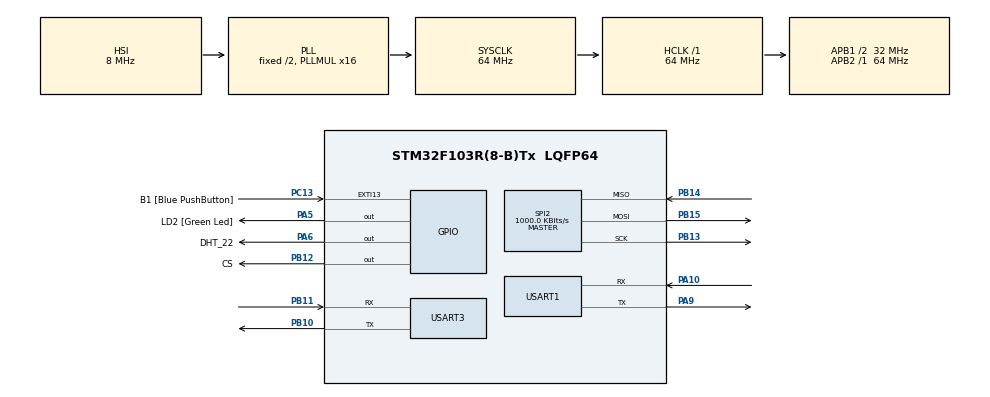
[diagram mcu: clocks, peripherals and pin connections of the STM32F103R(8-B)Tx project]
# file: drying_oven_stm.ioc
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Dma.Request0=USART1_RX
Dma.Request1=USART3_RX
Dma.USART1_RX.0.Direction=DMA_PERIPH_TO_MEMORY
Dma.USART1_RX.0.Instance=DMA1_Channel5
Dma.USART1_RX.0.MemDataAlignment=DMA_MDATAALIGN_BYTE
Dma.USART1_RX.0.MemInc=DMA_MINC_ENABLE
Dma.USART1_RX.0.Mode=DMA_NORMAL
Dma.USART1_RX.0.PeriphDataAlignment=DMA_PDATAALIGN_BYTE
Dma.USART1_RX.0.PeriphInc=DMA_PINC_DISABLE
Dma.USART1_RX.0.Priority=DMA_PRIORITY_LOW
Dma.USART3_RX.1.Direction=DMA_PERIPH_TO_MEMORY
Dma.USART3_RX.1.Instance=DMA1_Channel3
Dma.USART3_RX.1.MemDataAlignment=DMA_MDATAALIGN_BYTE
Dma.USART3_RX.1.MemInc=DMA_MINC_ENABLE
Dma.USART3_RX.1.Mode=DMA_NORMAL
Dma.USART3_RX.1.PeriphDataAlignment=DMA_PDATAALIGN_BYTE
Dma.USART3_RX.1.PeriphInc=DMA_PINC_DISABLE
Dma.USART3_RX.1.Priority=DMA_PRIORITY_LOW
FREERTOS.INCLUDE_vTaskDelayUntil=1
FREERTOS.MEMORY_ALLOCATION=1
FREERTOS.Mutexes01=dataMutex,Static,dataMutexControlBlock
FREERTOS.Tasks01=defaultTask,-3,128,StartDefaultTask,Default,NULL,Static,defaultTaskBuffer,defaultTaskControlBlock;sensorTask,0,128,StartSensorTask,Default,NULL,Static,sensorTaskBuffer,sensorTaskControlBlock;httpTask,1,128,StartHttpTask,Default,NULL,Static,httpTaskBuffer,httpTaskControlBlock;cliTask,2,128,StartCliTask,Default,NULL,Static,cliTaskBuffer,cliTaskControlBlock
FREERTOS.configTICK_RATE_HZ=10
FREERTOS.configUSE_NEWLIB_REENTRANT=1
Mcu.Family=STM32F1
Mcu.Name=STM32F103R(8-B)Tx
Mcu.Package=LQFP64
NVIC.DMA1_Channel3_IRQn=true\:5\:0\:false\:false\:true\:true\:false\:true\:true
NVIC.DMA1_Channel5_IRQn=true\:5\:0\:false\:false\:true\:true\:false\:true\:true
NVIC.EXTI15_10_IRQn=true\:5\:0\:false\:false\:true\:true\:true\:true\:true
NVIC.PriorityGroup=NVIC_PRIORITYGROUP_4
NVIC.USART1_IRQn=true\:5\:0\:false\:false\:true\:true\:true\:true\:true
NVIC.USART3_IRQn=true\:5\:0\:false\:false\:true\:true\:true\:true\:true
PA10.Mode=Asynchronous
PA10.Signal=USART1_RX
PA13.GPIO_Label=TMS
PA13.Mode=Serial_Wire
PA13.Signal=SYS_JTMS-SWDIO
PA14.GPIO_Label=TCK
PA14.Mode=Serial_Wire
PA14.Signal=SYS_JTCK-SWCLK
PA2.GPIO_Label=USART_TX
PA2.GPIO_Mode=GPIO_MODE_AF_PP
PA2.GPIO_PuPd=GPIO_NOPULL
PA2.GPIO_Speed=GPIO_SPEED_FREQ_LOW
PA2.Signal=USART2_TX
PA3.GPIO_Label=USART_RX
PA3.GPIO_Mode=GPIO_MODE_AF_PP
PA3.GPIO_PuPd=GPIO_NOPULL
PA3.GPIO_Speed=GPIO_SPEED_FREQ_LOW
PA3.Signal=USART2_RX
PA5.GPIO_Label=LD2 [Green Led]
PA5.GPIO_ModeDefaultOutputPP=GPIO_MODE_OUTPUT_PP
PA5.GPIO_PuPd=GPIO_NOPULL
PA5.GPIO_Speed=GPIO_SPEED_FREQ_LOW
PA5.Signal=GPIO_Output
PA6.GPIO_Label=DHT_22
PA6.Signal=GPIO_Output
PA9.Mode=Asynchronous
PA9.Signal=USART1_TX
PB10.Mode=Asynchronous
PB10.Signal=USART3_TX
PB11.Mode=Asynchronous
PB11.Signal=USART3_RX
PB12.GPIO_Label=CS
PB12.GPIO_ModeDefaultOutputPP=GPIO_MODE_OUTPUT_PP
PB12.GPIO_PuPd=GPIO_NOPULL
PB12.PinState=GPIO_PIN_RESET
PB12.Signal=GPIO_Output
PB13.Mode=Full_Duplex_Master
PB13.Signal=SPI2_SCK
PB14.Mode=Full_Duplex_Master
PB14.Signal=SPI2_MISO
PB15.Mode=Full_Duplex_Master
PB15.Signal=SPI2_MOSI
PB3.GPIO_Label=SWO
PB3.Signal=SYS_JTDO-TRACESWO
PC13-TAMPER-RTC.GPIO_Label=B1 [Blue PushButton]
PC13-TAMPER-RTC.GPIO_PuPd=GPIO_NOPULL
PC13-TAMPER-RTC.Signal=GPXTI13
PC14-OSC32_IN.Mode=LSE-External-Oscillator
PC14-OSC32_IN.Signal=RCC_OSC32_IN
PC15-OSC32_OUT.Mode=LSE-External-Oscillator
PC15-OSC32_OUT.Signal=RCC_OSC32_OUT
PD0-OSC_IN.Mode=HSE-External-Clock-Source
PD0-OSC_IN.Signal=RCC_OSC_IN
PD1-OSC_OUT.Mode=HSE-External-Clock-Source
PD1-OSC_OUT.Signal=RCC_OSC_OUT
ProjectManager.HeapSize=0x200
ProjectManager.StackSize=0x400
ProjectManager.TargetToolchain=STM32CubeIDE
RCC.AHBFreq_Value=64000000
RCC.APB1CLKDivider=RCC_HCLK_DIV2
RCC.APB1Freq_Value=32000000
RCC.APB1TimFreq_Value=64000000
RCC.APB2Freq_Value=64000000
RCC.APB2TimFreq_Value=64000000
RCC.HCLKFreq_Value=64000000
RCC.PLLMUL=RCC_PLL_MUL16
RCC.RTCClockSelection=RCC_RTCCLKSOURCE_LSE
RCC.SYSCLKFreq_VALUE=64000000
RCC.SYSCLKSource=RCC_SYSCLKSOURCE_PLLCLK
RCC.USBFreq_Value=64000000
SPI2.BaudRatePrescaler=SPI_BAUDRATEPRESCALER_32
SPI2.CLKPhase=SPI_PHASE_2EDGE
SPI2.CLKPolarity=SPI_POLARITY_HIGH
SPI2.CalculateBaudRate=1000.0 KBits/s
SPI2.Direction=SPI_DIRECTION_2LINES
SPI2.Mode=SPI_MODE_MASTER
SPI2.VirtualType=VM_MASTER
TIM3.Prescaler=64000-1
TIM4.Prescaler=64-1
USART1.VirtualMode=VM_ASYNC
USART3.VirtualMode=VM_ASYNC
VP_FREERTOS_VS_CMSIS_V1.Mode=CMSIS_V1
VP_TIM3_VS_ClockSourceINT.Mode=Internal
VP_TIM4_VS_ClockSourceINT.Mode=Internal
board=NUCLEO-F103RB

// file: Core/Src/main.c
/* USER CODE BEGIN Header */
/**
 ******************************************************************************
 * @file           : main.c
 * @brief          : Main program body
 ******************************************************************************
 * @attention
 *
 * Copyright (c) 2024 STMicroelectronics.
 * All rights reserved.
 *
 * This software is licensed under terms that can be found in the LICENSE file
 * in the root directory of this software component.
 * If no LICENSE file comes with this software, it is provided AS-IS.
 *
 ******************************************************************************
 */
/* USER CODE END Header */
#include "main.h"

#include "cmsis_os.h"

/* USER CODE BEGIN Includes */
#include "cli.h"
#include "dht22.h"
#include "esp8266.h"
#include "sensor_callbacks.h"

#include <stdio.h>
#include <string.h>
/* USER CODE END Includes */

SPI_HandleTypeDef hspi2;

TIM_HandleTypeDef htim3;
TIM_HandleTypeDef htim4;

UART_HandleTypeDef huart1;
UART_HandleTypeDef huart3;
DMA_HandleTypeDef hdma_usart1_rx;
DMA_HandleTypeDef hdma_usart3_rx;

osThreadId defaultTaskHandle;
uint32_t defaultTaskBuffer[128];
osStaticThreadDef_t defaultTaskControlBlock;
osThreadId sensorTaskHandle;
uint32_t sensorTaskBuffer[128];
osStaticThreadDef_t sensorTaskControlBlock;
osThreadId httpTaskHandle;
uint32_t httpTaskBuffer[128];
osStaticThreadDef_t httpTaskControlBlock;
osThreadId cliTaskHandle;
uint32_t cliTaskBuffer[128];
osStaticThreadDef_t cliTaskControlBlock;
osMutexId dataMutexHandle;
osStaticMutexDef_t dataMutexControlBlock;
/* USER CODE BEGIN PV */
dht22_t dht22;
esp8266_t esp8266;
max31865_t pt100_TempSensor;
static const char fw_version[] = "0.0.1";

const char *hello_http      = "<h1>Hello World!</h1>";
volatile uint8_t cpt_addr   = 0;
volatile uint16_t prev_size = 0;

static uint8_t rx_buffer[INPUT_BUF_SIZE];
static char cli_buffer[INPUT_BUF_SIZE]; /** Input buffer for the command line interpreter. */
static uint8_t esp_buffer[MAX_BUFFER_LEN];
static char esp_freeze_buffer[MAX_BUFFER_LEN];

volatile uint8_t cli_flag = 0;

typedef struct __attribute__((__packed__))
{
    uint16_t oven_temperature;
    uint16_t int_temp_celsius;
    uint16_t int_humidity;
} sensor_values_t;

/* USER CODE END PV */

void SystemClock_Config(void);
static void MX_GPIO_Init(void);
static void MX_DMA_Init(void);
static void MX_SPI2_Init(void);
static void MX_USART1_UART_Init(void);
static void MX_TIM4_Init(void);
static void MX_TIM3_Init(void);
static void MX_USART3_UART_Init(void);
void StartDefaultTask(const void *argument);
void StartSensorTask(const void *argument);
void StartHttpTask(const void *argument);
void StartCliTask(const void *argument);

/* USER CODE BEGIN PFP */
static void ask_user_credentials(esp8266_t *esp8266);

/* USER CODE END PFP */

/* USER CODE BEGIN 0 */
/**
 * @brief This function is called to increment  a global variable "uwTick"
 *        used as application time base.
 * @note We need to increment tick by different value depending on
 *        the configTICK_RATE_HZ constant
 * @note This function will overload the weak version
 * @retval None
 */
void HAL_IncTick(void)
{
    switch (configTICK_RATE_HZ)
    {
        case 1000:
            uwTick += HAL_TICK_FREQ_1KHZ;
            break;
        case 100:
            uwTick += HAL_TICK_FREQ_100HZ;
            break;
        case 10:
            uwTick += HAL_TICK_FREQ_10HZ;
            break;
        default:
            uwTick += HAL_TICK_FREQ_DEFAULT;
    }
}

/**
 * @brief      UART Rx callback function
 * @param[in]  huart UART handle
 * @param[in]  Size Number of bytes received
 * @retval     None
 */
void HAL_UARTEx_RxEventCallback(UART_HandleTypeDef *huart, uint16_t Size)
{
    BaseType_t is_higher_priority_task_woken = pdFALSE;

    if (USART3 == huart->Instance)
    {
        /** Copy RxBuffer to cli_input buffer for processing*/
        memcpy(cli_buffer, rx_buffer, Size);

        /** Set New message available for processing */
        // TODO This is a temporary solution to avoid Notify a task while scheduler has not yet started
        // Best solution could be to use a InitTask to ask_user_credentials and kill it after
        // so that we won't need anymore cli_flag
        if (xTaskGetSchedulerState() != taskSCHEDULER_RUNNING)
        {
            cli_flag = 1;
            return;
        }
        vTaskNotifyGiveFromISR(cliTaskHandle, &is_higher_priority_task_woken);
    }
    else if (USART1 == huart->Instance)
    {
        // Do something with the ESP8266 received data
        memcpy(esp_freeze_buffer, esp_buffer, Size);

        /** Set New message available for processing*/
        if (MAX_BUFFER_LEN == Size)
        {
            vTaskNotifyGiveFromISR(httpTaskHandle, &is_higher_priority_task_woken);
        }
        else
        {
            /* start the DMA while entire message has not been received */
            HAL_UARTEx_ReceiveToIdle_DMA(&huart1, (uint8_t *) esp_buffer, MAX_BUFFER_LEN);
            __HAL_DMA_DISABLE_IT(&hdma_usart1_rx, DMA_IT_HT);
        }
    }
    else
    {
        return;
    }
    portYIELD_FROM_ISR(is_higher_priority_task_woken);
}

static void ask_user_credentials(esp8266_t *esp8266)
{
    char ssid[MAX_CHAR_SSID];
    char password[MAX_CHAR_PWD];

    PRINTF("Enter SSID for wifi connection:\n");

    while (!cli_flag)
    {
    }
    memcpy(ssid, cli_buffer, strlen(cli_buffer) + 1);

    /* start the DMA again */
    HAL_UARTEx_ReceiveToIdle_DMA(&huart3, (uint8_t *) rx_buffer, INPUT_BUF_SIZE);
    __HAL_DMA_DISABLE_IT(&hdma_usart3_rx, DMA_IT_HT);

    cli_flag = 0;

    PRINTF("Enter password for wifi connection:\n");

    while (!cli_flag)
    {
    }
    memcpy(password, cli_buffer, strlen(cli_buffer) + 1);

    /* start the DMA again */
    HAL_UARTEx_ReceiveToIdle_DMA(&huart3, (uint8_t *) rx_buffer, INPUT_BUF_SIZE);
    __HAL_DMA_DISABLE_IT(&hdma_usart3_rx, DMA_IT_HT);

    cli_flag = 0;

    esp_8266_set_credentials(esp8266, ssid, password);
}

/* USER CODE END 0 */

int main(void)
{
    /* USER CODE BEGIN 1 */
    esp8266_status_t esp_sts = ESP8266_OK;

    dht22_init(&dht22, gpio_input_dir, gpio_write, delay_us, gpio_read, gpio_output_dir);

    esp8266_init(&esp8266, delay_ms, send_message);

    max31865_init(&pt100_TempSensor,
                  chipselect_cb,
                  spi_trx_cb,
                  charge_time_delay_cb,
                  conversion_time_delay_cb,
                  threshold_fault,
                  threshold_fault,
                  100,    // RTD resistance
                  432,    // Rref resistance
                  0,      // lower fault threshold
                  0x7fff, // higher fault threshold
                  false,  // 2 wire
                  false); // 50Hz filter

    /* USER CODE END 1 */

    /* MCU Configuration--------------------------------------------------------*/

    /* Reset of all peripherals, Initializes the Flash interface and the Systick. */
    HAL_Init();

    /* Configure the system clock */
    SystemClock_Config();

    /* Initialize all configured peripherals */
    MX_GPIO_Init();
    MX_DMA_Init();
    MX_SPI2_Init();
    MX_USART1_UART_Init();
    MX_TIM4_Init();
    MX_TIM3_Init();
    MX_USART3_UART_Init();
    /* USER CODE BEGIN 2 */
    HAL_UARTEx_ReceiveToIdle_DMA(&huart3, rx_buffer, INPUT_BUF_SIZE);
    __HAL_DMA_DISABLE_IT(&hdma_usart3_rx, DMA_IT_HT);

    PRINTF("Coucou Hibou\nSoftware Version %s\n", fw_version);

    ask_user_credentials(&esp8266);
    esp_sts = esp8266_connect(&esp8266);
    PRINTF("%s\n", (esp_sts == ESP8266_OK) ? "Connected to wifi" : "Failed to connect to wifi");

    print_cli_menu();
    HAL_UARTEx_ReceiveToIdle_DMA(&huart1, esp_buffer, MAX_BUFFER_LEN);
    __HAL_DMA_DISABLE_IT(&hdma_usart1_rx, DMA_IT_HT);

    // Enabling the CM3 Cycle Counter
    DWT->CTRL |= (1U << 0);
    SEGGER_SYSVIEW_Conf();
    // SEGGER_SYSVIEW_Start();
    /* USER CODE END 2 */

    /* Create the mutex(es) */
    /* definition and creation of dataMutex */
    osMutexStaticDef(dataMutex, &dataMutexControlBlock);
    dataMutexHandle = osMutexCreate(osMutex(dataMutex));

    /* Create the thread(s) */
    /* definition and creation of defaultTask */
    osThreadStaticDef(defaultTask,
                      StartDefaultTask,
                      osPriorityIdle,
                      0,
                      128,
                      defaultTaskBuffer,
                      &defaultTaskControlBlock);
    defaultTaskHandle = osThreadCreate(osThread(defaultTask), NULL);

    /* definition and creation of sensorTask */
    osThreadStaticDef(sensorTask, StartSensorTask, osPriorityNormal, 0, 128, sensorTaskBuffer, &sensorTaskControlBlock);
    sensorTaskHandle = osThreadCreate(osThread(sensorTask), NULL);

    /* definition and creation of httpTask */
    osThreadStaticDef(httpTask, StartHttpTask, osPriorityAboveNormal, 0, 128, httpTaskBuffer, &httpTaskControlBlock);
    httpTaskHandle = osThreadCreate(osThread(httpTask), NULL);

    /* definition and creation of cliTask */
    osThreadStaticDef(cliTask, StartCliTask, osPriorityHigh, 0, 128, cliTaskBuffer, &cliTaskControlBlock);
    cliTaskHandle = osThreadCreate(osThread(cliTask), NULL);

    /* Start scheduler */
    osKernelStart();

    /* We should never get here as control is now taken by the scheduler */
    /* Infinite loop */
    while (1)
    {

    }
}

void SystemClock_Config(void)
{
    RCC_OscInitTypeDef RCC_OscInitStruct = {0};
    RCC_ClkInitTypeDef RCC_ClkInitStruct = {0};

    /** Initializes the RCC Oscillators according to the specified parameters
     * in the RCC_OscInitTypeDef structure.
     */
    RCC_OscInitStruct.OscillatorType      = RCC_OSCILLATORTYPE_HSI;
    RCC_OscInitStruct.HSIState            = RCC_HSI_ON;
    RCC_OscInitStruct.HSICalibrationValue = RCC_HSICALIBRATION_DEFAULT;
    RCC_OscInitStruct.PLL.PLLState        = RCC_PLL_ON;
    RCC_OscInitStruct.PLL.PLLSource       = RCC_PLLSOURCE_HSI_DIV2;
    RCC_OscInitStruct.PLL.PLLMUL          = RCC_PLL_MUL16;
    if (HAL_RCC_OscConfig(&RCC_OscInitStruct) != HAL_OK)
    {
        Error_Handler();
    }

    /** Initializes the CPU, AHB and APB buses clocks
     */
    RCC_ClkInitStruct.ClockType = RCC_CLOCKTYPE_HCLK | RCC_CLOCKTYPE_SYSCLK | RCC_CLOCKTYPE_PCLK1 | RCC_CLOCKTYPE_PCLK2;
    RCC_ClkInitStruct.SYSCLKSource   = RCC_SYSCLKSOURCE_PLLCLK;
    RCC_ClkInitStruct.AHBCLKDivider  = RCC_SYSCLK_DIV1;
    RCC_ClkInitStruct.APB1CLKDivider = RCC_HCLK_DIV2;
    RCC_ClkInitStruct.APB2CLKDivider = RCC_HCLK_DIV1;

    if (HAL_RCC_ClockConfig(&RCC_ClkInitStruct, FLASH_LATENCY_2) != HAL_OK)
    {
        Error_Handler();
    }
}

static void MX_SPI2_Init(void)
{

    /* SPI2 parameter configuration*/
    hspi2.Instance               = SPI2;
    hspi2.Init.Mode              = SPI_MODE_MASTER;
    hspi2.Init.Direction         = SPI_DIRECTION_2LINES;
    hspi2.Init.DataSize          = SPI_DATASIZE_8BIT;
    hspi2.Init.CLKPolarity       = SPI_POLARITY_HIGH;
    hspi2.Init.CLKPhase          = SPI_PHASE_2EDGE;
    hspi2.Init.NSS               = SPI_NSS_SOFT;
    hspi2.Init.BaudRatePrescaler = SPI_BAUDRATEPRESCALER_32;
    hspi2.Init.FirstBit          = SPI_FIRSTBIT_MSB;
    hspi2.Init.TIMode            = SPI_TIMODE_DISABLE;
    hspi2.Init.CRCCalculation    = SPI_CRCCALCULATION_DISABLE;
    hspi2.Init.CRCPolynomial     = 10;
    if (HAL_SPI_Init(&hspi2) != HAL_OK)
    {
        Error_Handler();
    }
}

static void MX_TIM3_Init(void)
{

    TIM_ClockConfigTypeDef sClockSourceConfig = {0};
    TIM_MasterConfigTypeDef sMasterConfig     = {0};

    htim3.Instance               = TIM3;
    htim3.Init.Prescaler         = 64000 - 1;
    htim3.Init.CounterMode       = TIM_COUNTERMODE_UP;
    htim3.Init.Period            = 65535;
    htim3.Init.ClockDivision     = TIM_CLOCKDIVISION_DIV1;
    htim3.Init.AutoReloadPreload = TIM_AUTORELOAD_PRELOAD_DISABLE;
    if (HAL_TIM_Base_Init(&htim3) != HAL_OK)
    {
        Error_Handler();
    }
    sClockSourceConfig.ClockSource = TIM_CLOCKSOURCE_INTERNAL;
    if (HAL_TIM_ConfigClockSource(&htim3, &sClockSourceConfig) != HAL_OK)
    {
        Error_Handler();
    }
    sMasterConfig.MasterOutputTrigger = TIM_TRGO_RESET;
    sMasterConfig.MasterSlaveMode     = TIM_MASTERSLAVEMODE_DISABLE;
    if (HAL_TIMEx_MasterConfigSynchronization(&htim3, &sMasterConfig) != HAL_OK)
    {
        Error_Handler();
    }
    /* USER CODE BEGIN TIM3_Init 2 */
    __HAL_TIM_ENABLE(&htim3);
    /* USER CODE END TIM3_Init 2 */
}

static void MX_TIM4_Init(void)
{

    TIM_ClockConfigTypeDef sClockSourceConfig = {0};
    TIM_MasterConfigTypeDef sMasterConfig     = {0};

    htim4.Instance               = TIM4;
    htim4.Init.Prescaler         = 64 - 1;
    htim4.Init.CounterMode       = TIM_COUNTERMODE_UP;
    htim4.Init.Period            = 65535;
    htim4.Init.ClockDivision     = TIM_CLOCKDIVISION_DIV1;
    htim4.Init.AutoReloadPreload = TIM_AUTORELOAD_PRELOAD_DISABLE;
    if (HAL_TIM_Base_Init(&htim4) != HAL_OK)
    {
        Error_Handler();
    }
    sClockSourceConfig.ClockSource = TIM_CLOCKSOURCE_INTERNAL;
    if (HAL_TIM_ConfigClockSource(&htim4, &sClockSourceConfig) != HAL_OK)
    {
        Error_Handler();
    }
    sMasterConfig.MasterOutputTrigger = TIM_TRGO_RESET;
    sMasterConfig.MasterSlaveMode     = TIM_MASTERSLAVEMODE_DISABLE;
    if (HAL_TIMEx_MasterConfigSynchronization(&htim4, &sMasterConfig) != HAL_OK)
    {
        Error_Handler();
    }
    /* USER CODE BEGIN TIM4_Init 2 */
    __HAL_TIM_ENABLE(&htim4);
    /* USER CODE END TIM4_Init 2 */
}

static void MX_USART1_UART_Init(void)
{

    huart1.Instance          = USART1;
    huart1.Init.BaudRate     = 115200;
    huart1.Init.WordLength   = UART_WORDLENGTH_8B;
    huart1.Init.StopBits     = UART_STOPBITS_1;
    huart1.Init.Parity       = UART_PARITY_NONE;
    huart1.Init.Mode         = UART_MODE_TX_RX;
    huart1.Init.HwFlowCtl    = UART_HWCONTROL_NONE;
    huart1.Init.OverSampling = UART_OVERSAMPLING_16;
    if (HAL_UART_Init(&huart1) != HAL_OK)
    {
        Error_Handler();
    }
}

static void MX_USART3_UART_Init(void)
{

    huart3.Instance          = USART3;
    huart3.Init.BaudRate     = 115200;
    huart3.Init.WordLength   = UART_WORDLENGTH_8B;
    huart3.Init.StopBits     = UART_STOPBITS_1;
    huart3.Init.Parity       = UART_PARITY_NONE;
    huart3.Init.Mode         = UART_MODE_TX_RX;
    huart3.Init.HwFlowCtl    = UART_HWCONTROL_NONE;
    huart3.Init.OverSampling = UART_OVERSAMPLING_16;
    if (HAL_UART_Init(&huart3) != HAL_OK)
    {
        Error_Handler();
    }
}

static void MX_DMA_Init(void)
{
    /* DMA controller clock enable */
    __HAL_RCC_DMA1_CLK_ENABLE();

    /* DMA interrupt init */
    /* DMA1_Channel3_IRQn interrupt configuration */
    HAL_NVIC_SetPriority(DMA1_Channel3_IRQn, 5, 0);
    HAL_NVIC_EnableIRQ(DMA1_Channel3_IRQn);
    /* DMA1_Channel5_IRQn interrupt configuration */
    HAL_NVIC_SetPriority(DMA1_Channel5_IRQn, 5, 0);
    HAL_NVIC_EnableIRQ(DMA1_Channel5_IRQn);
}

static void MX_GPIO_Init(void)
{
    GPIO_InitTypeDef GPIO_InitStruct = {0};

    /* GPIO Ports Clock Enable */
    __HAL_RCC_GPIOC_CLK_ENABLE();
    __HAL_RCC_GPIOD_CLK_ENABLE();
    __HAL_RCC_GPIOA_CLK_ENABLE();
    __HAL_RCC_GPIOB_CLK_ENABLE();

    /*Configure GPIO pin Output Level */
    HAL_GPIO_WritePin(GPIOA, LD2_Pin | DHT_22_Pin, GPIO_PIN_RESET);

    /*Configure GPIO pin Output Level */
    HAL_GPIO_WritePin(CS_GPIO_Port, CS_Pin, GPIO_PIN_RESET);

    /*Configure GPIO pin : B1_Pin */
    GPIO_InitStruct.Pin  = B1_Pin;
    GPIO_InitStruct.Mode = GPIO_MODE_IT_RISING;
    GPIO_InitStruct.Pull = GPIO_NOPULL;
    HAL_GPIO_Init(B1_GPIO_Port, &GPIO_InitStruct);

    /*Configure GPIO pins : USART_TX_Pin USART_RX_Pin */
    GPIO_InitStruct.Pin   = USART_TX_Pin | USART_RX_Pin;
    GPIO_InitStruct.Mode  = GPIO_MODE_AF_PP;
    GPIO_InitStruct.Speed = GPIO_SPEED_FREQ_LOW;
    HAL_GPIO_Init(GPIOA, &GPIO_InitStruct);

    /*Configure GPIO pins : LD2_Pin DHT_22_Pin */
    GPIO_InitStruct.Pin   = LD2_Pin | DHT_22_Pin;
    GPIO_InitStruct.Mode  = GPIO_MODE_OUTPUT_PP;
    GPIO_InitStruct.Pull  = GPIO_NOPULL;
    GPIO_InitStruct.Speed = GPIO_SPEED_FREQ_LOW;
    HAL_GPIO_Init(GPIOA, &GPIO_InitStruct);

    /*Configure GPIO pin : CS_Pin */
    GPIO_InitStruct.Pin   = CS_Pin;
    GPIO_InitStruct.Mode  = GPIO_MODE_OUTPUT_PP;
    GPIO_InitStruct.Pull  = GPIO_NOPULL;
    GPIO_InitStruct.Speed = GPIO_SPEED_FREQ_LOW;
    HAL_GPIO_Init(CS_GPIO_Port, &GPIO_InitStruct);

    /* EXTI interrupt init*/
    HAL_NVIC_SetPriority(EXTI15_10_IRQn, 5, 0);
    HAL_NVIC_EnableIRQ(EXTI15_10_IRQn);

    /* USER CODE BEGIN MX_GPIO_Init_2 */
    // Set chip select to high level
    GPIOB->BSRR = GPIO_PIN_12;
    // Set DHT22 pin to high level
    GPIOA->BSRR = GPIO_PIN_6;
    /* USER CODE END MX_GPIO_Init_2 */
}

void StartDefaultTask(const void *argument)
{
    /* USER CODE BEGIN 5 */
    const TickType_t xDelay = 20000 / portTICK_PERIOD_MS;
    /* Infinite loop */
    for (;;)
    {
        vTaskDelay(xDelay);
    }
    /* USER CODE END 5 */
}

void StartSensorTask(const void *argument)
{
    /* USER CODE BEGIN StartSensorTask */
    sensor_values_t sensor_values = {.oven_temperature = 0, .int_temp_celsius = 0, .int_humidity = 0};

    TickType_t xLastWakeTime;
    uint8_t cs                              = 0xFF;
    uint16_t int_sensor_values[DHT22_FRAME] = {0};
    // Run the task every 10 seconds
    const TickType_t xDelay                 = 10000 / portTICK_PERIOD_MS;

    // Initialise the xLastWakeTime variable with the current time.
    xLastWakeTime = xTaskGetTickCount();
    /* Infinite loop */
    for (;;)
    {
        vTaskDelayUntil(&xLastWakeTime, xDelay);

        sensor_values.oven_temperature = (uint16_t) max31865_readCelsius(&pt100_TempSensor);

        (void) dht22_start(&dht22);
        cs = dht22_read_data(&dht22, int_sensor_values, DHT22_FRAME);
        if (0x00 == cs)
        {
            sensor_values.int_temp_celsius = (uint16_t) (int_sensor_values[1] / 10.0);
            sensor_values.int_humidity     = (uint16_t) (int_sensor_values[0] / 10.0);
        }
        if (dataQueueHandle != NULL)
        {
            if (xQueueSend(dataQueueHandle, (void *) &sensor_values, (TickType_t) 10) != pdPASS)
            {
                PRINTF("Failed to send sensor data to the queue\n");
            }
        }
    }
    /* USER CODE END StartSensorTask */
}

void StartHttpTask(const void *argument)
{
    /* USER CODE BEGIN StartHttpTask */
    sensor_values_t rx_data = {.int_humidity = 12, .int_temp_celsius = 13, .oven_temperature = 14};

    char buffer[50]; // Adjust the size as needed
    char *html_start = "<h1>Temp :";
    char *html_end   = "</h1>";
    char temp_str[4]; // Assuming temperature value won't exceed 999999999
    /* Infinite loop */
    for (;;)
    {
        // Blocked task until the notification has been received
        ulTaskNotifyTake(pdTRUE, portMAX_DELAY);

        // Convert temperature to string
        int temp_value = rx_data.int_temp_celsius;
        int i          = 0;
        while (temp_value > 0)
        {
            temp_str[i++] = (temp_value % 10) + '0';
            temp_value    /= 10;
        }
        temp_str[i] = '\0';

        // Reverse the temp_str
        for (int start = 0, end = i - 1; start < end; start++, end--)
        {
            char temp       = temp_str[start];
            temp_str[start] = temp_str[end];
            temp_str[end]   = temp;
        }

        // Manually copy the strings into the buffer
        int j = 0;
        for (i = 0; html_start[i] != '\0'; i++, j++)
        {
            buffer[j] = html_start[i];
        }
        for (i = 0; temp_str[i] != '\0'; i++, j++)
        {
            buffer[j] = temp_str[i];
        }
        for (i = 0; html_end[i] != '\0'; i++, j++)
        {
            buffer[j] = html_end[i];
        }
        buffer[j] = '\0';

        http_send_data(&esp8266, esp_freeze_buffer, strlen(esp_freeze_buffer), buffer, strlen(buffer));

        //        if (dataQueueHandle != NULL)
        //        {
        //            if (xQueueReceive(dataQueueHandle, &rx_data, portMAX_DELAY) != pdPASS)
        //            {
        //                PRINTF("Failed to receive int temperature data from the queue\n");
        //            }
        //        }

        /** Clear buffer */
        memset(esp_freeze_buffer, 0, MAX_BUFFER_LEN);
        /* start the DMA again */
        HAL_UARTEx_ReceiveToIdle_DMA(&huart1, (uint8_t *) esp_buffer, MAX_BUFFER_LEN);
        __HAL_DMA_DISABLE_IT(&hdma_usart1_rx, DMA_IT_HT);
    }
    /* USER CODE END StartHttpTask */
}

void StartCliTask(const void *argument)
{
    /* USER CODE BEGIN StartCliTask */
    /* Infinite loop */
    for (;;)
    {
        // Blocked task until the notification has been received
        ulTaskNotifyTake(pdTRUE, portMAX_DELAY);

        cli_input(cli_buffer);

        /** Clear buffer */
        memset(cli_buffer, 0, INPUT_BUF_SIZE);
        /* start the DMA again */
        HAL_UARTEx_ReceiveToIdle_DMA(&huart3, (uint8_t *) rx_buffer, INPUT_BUF_SIZE);
        __HAL_DMA_DISABLE_IT(&hdma_usart3_rx, DMA_IT_HT);
    }
    /* USER CODE END StartCliTask */
}

void Error_Handler(void)
{
    __disable_irq();
    while (1)
    {
    }
}

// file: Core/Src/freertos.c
/* USER CODE BEGIN Header */
/**
 ******************************************************************************
 * File Name          : freertos.c
 * Description        : Code for freertos applications
 ******************************************************************************
 * @attention
 *
 * Copyright (c) 2024 STMicroelectronics.
 * All rights reserved.
 *
 * This software is licensed under terms that can be found in the LICENSE file
 * in the root directory of this software component.
 * If no LICENSE file comes with this software, it is provided AS-IS.
 *
 ******************************************************************************
 */
/* USER CODE END Header */

#include "FreeRTOS.h"

#include "main.h"
#include "task.h"

/* GetIdleTaskMemory prototype (linked to static allocation support) */
void vApplicationGetIdleTaskMemory(StaticTask_t **ppxIdleTaskTCBBuffer,
                                   StackType_t **ppxIdleTaskStackBuffer,
                                   uint32_t *pulIdleTaskStackSize);

/* USER CODE BEGIN GET_IDLE_TASK_MEMORY */
static StaticTask_t xIdleTaskTCBBuffer;
static StackType_t xIdleStack[configMINIMAL_STACK_SIZE];

void vApplicationGetIdleTaskMemory(StaticTask_t **ppxIdleTaskTCBBuffer,
                                   StackType_t **ppxIdleTaskStackBuffer,
                                   uint32_t *pulIdleTaskStackSize)
{
    *ppxIdleTaskTCBBuffer   = &xIdleTaskTCBBuffer;
    *ppxIdleTaskStackBuffer = &xIdleStack[0];
    *pulIdleTaskStackSize   = configMINIMAL_STACK_SIZE;
    /* place for user code */
}

/* USER CODE END GET_IDLE_TASK_MEMORY */
